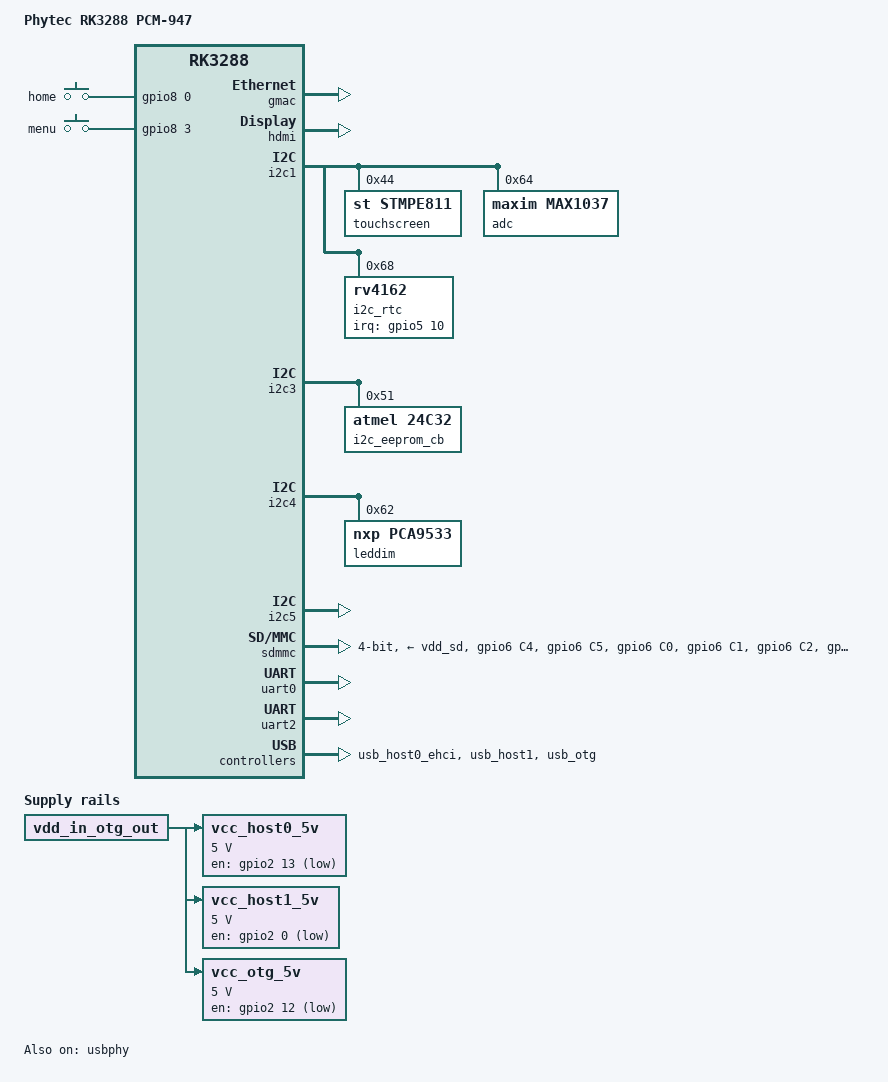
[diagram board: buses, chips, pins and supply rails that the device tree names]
// SPDX-License-Identifier: (GPL-2.0+ OR MIT)
/*
 * Device tree file for Phytec PCM-947 carrier board
 * Copyright (C) 2017 PHYTEC Messtechnik GmbH
 * Author: Wadim Egorov <w.egorov@phytec.de>
 */

/dts-v1/;

#include <dt-bindings/input/input.h>
#include <dt-bindings/leds/leds-pca9532.h>
#include "rk3288-phycore-som.dtsi"

/ {
	model = "Phytec RK3288 PCM-947";
	compatible = "phytec,rk3288-pcm-947", "phytec,rk3288-phycore-som", "rockchip,rk3288";

	user_buttons: user-buttons {
		compatible = "gpio-keys";
		pinctrl-names = "default";
		pinctrl-0 = <&user_button_pins>;

		button-0 {
			label = "home";
			linux,code = <KEY_HOME>;
			gpios = <&gpio8 0 GPIO_ACTIVE_HIGH>;
			wakeup-source;
		};

		button-1 {
			label = "menu";
			linux,code = <KEY_MENU>;
			gpios = <&gpio8 3 GPIO_ACTIVE_HIGH>;
			wakeup-source;
		};
	};

	vcc_host0_5v: usb-host0-regulator {
		compatible = "regulator-fixed";
		gpio = <&gpio2 13 GPIO_ACTIVE_HIGH>;
		pinctrl-names = "default";
		pinctrl-0 = <&host0_vbus_drv>;
		regulator-name = "vcc_host0_5v";
		regulator-min-microvolt = <5000000>;
		regulator-max-microvolt = <5000000>;
		regulator-always-on;
		vin-supply = <&vdd_in_otg_out>;
	};

	vcc_host1_5v: usb-host1-regulator {
		compatible = "regulator-fixed";
		gpio = <&gpio2 0 GPIO_ACTIVE_HIGH>;
		pinctrl-names = "default";
		pinctrl-0 = <&host1_vbus_drv>;
		regulator-name = "vcc_host1_5v";
		regulator-min-microvolt = <5000000>;
		regulator-max-microvolt = <5000000>;
		regulator-always-on;
		vin-supply = <&vdd_in_otg_out>;
	};

	vcc_otg_5v: usb-otg-regulator {
		compatible = "regulator-fixed";
		gpio = <&gpio2 12 GPIO_ACTIVE_HIGH>;
		pinctrl-names = "default";
		pinctrl-0 = <&otg_vbus_drv>;
		regulator-name = "vcc_otg_5v";
		regulator-min-microvolt = <5000000>;
		regulator-max-microvolt = <5000000>;
		regulator-always-on;
		vin-supply = <&vdd_in_otg_out>;
	};
};

&gmac {
	status = "okay";
};

&hdmi {
	status = "okay";
};

&i2c1 {
	status = "okay";

	touchscreen@44 {
		compatible = "st,stmpe811";
		reg = <0x44>;
	};

	adc@64 {
		compatible = "maxim,max1037";
		reg = <0x64>;
	};

	i2c_rtc: rtc@68 {
		compatible = "rv4162";
		reg = <0x68>;
		pinctrl-names = "default";
		pinctrl-0 = <&i2c_rtc_int>;
		interrupt-parent = <&gpio5>;
		interrupts = <10 0>;
	};
};

&i2c3 {
	status = "okay";

	i2c_eeprom_cb: eeprom@51 {
		compatible = "atmel,24c32";
		reg = <0x51>;
		pagesize = <32>;
	};
};

&i2c4 {
	status = "okay";

	/* PCA9533 - 4-bit LED dimmer */
	leddim: leddimmer@62 {
		compatible = "nxp,pca9533";
		reg = <0x62>;

		led1 {
			label = "red:user1";
			linux,default-trigger = "none";
			type = <PCA9532_TYPE_LED>;
		};

		led2 {
			label = "green:user2";
			linux,default-trigger = "none";
			type = <PCA9532_TYPE_LED>;
		};

		led3 {
			label = "blue:user3";
			linux,default-trigger = "none";
			type = <PCA9532_TYPE_LED>;
		};

		led4 {
			label = "red:user4";
			linux,default-trigger = "none";
			type = <PCA9532_TYPE_LED>;
		};
	};
};

&i2c5 {
	status = "okay";
};

&pinctrl {
	pcfg_pull_up_drv_12ma: pcfg-pull-up-drv-12ma {
		bias-pull-up;
		drive-strength = <12>;
	};

	buttons {
		user_button_pins: user-button-pins {
			/* button 1 */
			rockchip,pins = <8 RK_PA3 RK_FUNC_GPIO &pcfg_pull_up>,
			/* button 2 */
					<8 RK_PA0 RK_FUNC_GPIO &pcfg_pull_up>;
		};
	};

	rv4162 {
		i2c_rtc_int: i2c-rtc-int {
			rockchip,pins = <5 RK_PB2 RK_FUNC_GPIO &pcfg_pull_up>;
		};
	};

	sdmmc {
		/*
		 * Default drive strength isn't enough to achieve even
		 * high-speed mode on pcm-947 board so bump up to 12 mA.
		 */
		sdmmc_bus4: sdmmc-bus4 {
			rockchip,pins = <6 RK_PC0 1 &pcfg_pull_up_drv_12ma>,
					<6 RK_PC1 1 &pcfg_pull_up_drv_12ma>,
					<6 RK_PC2 1 &pcfg_pull_up_drv_12ma>,
					<6 RK_PC3 1 &pcfg_pull_up_drv_12ma>;
		};

		sdmmc_clk: sdmmc-clk {
			rockchip,pins = <6 RK_PC4 1 &pcfg_pull_none_12ma>;
		};

		sdmmc_cmd: sdmmc-cmd {
			rockchip,pins = <6 RK_PC5 1 &pcfg_pull_up_drv_12ma>;
		};

		sdmmc_pwr: sdmmc-pwr {
			rockchip,pins = <7 RK_PB3 RK_FUNC_GPIO &pcfg_pull_none>;
		};
	};

	touchscreen {
		ts_irq_pin: ts-irq-pin {
			rockchip,pins = <5 RK_PB7 RK_FUNC_GPIO &pcfg_pull_none>;
		};
	};

	usb_host {
		host0_vbus_drv: host0-vbus-drv {
			rockchip,pins = <2 RK_PB5 RK_FUNC_GPIO &pcfg_pull_none>;
		};

		host1_vbus_drv: host1-vbus-drv {
			rockchip,pins = <2 RK_PA0 RK_FUNC_GPIO &pcfg_pull_none>;
		};
	};

	usb_otg {
		otg_vbus_drv: otg-vbus-drv {
			rockchip,pins = <2 RK_PB4 RK_FUNC_GPIO &pcfg_pull_none>;
		};
	};
};

&sdmmc {
	bus-width = <4>;
	cap-mmc-highspeed;
	cap-sd-highspeed;
	card-detect-delay = <200>;
	disable-wp;
	pinctrl-names = "default";
	pinctrl-0 = <&sdmmc_clk &sdmmc_cmd &sdmmc_cd &sdmmc_bus4>;
	sd-uhs-sdr12;
	sd-uhs-sdr25;
	sd-uhs-sdr50;
	sd-uhs-sdr104;
	vmmc-supply = <&vdd_sd>;
	vqmmc-supply = <&vdd_io_sd>;
	status = "okay";
};

&uart0 {
	pinctrl-names = "default";
	pinctrl-0 = <&uart0_xfer &uart0_cts &uart0_rts>;
	status = "okay";
};

&uart2 {
	status = "okay";
};

&usbphy {
	status = "okay";
};

&usb_host0_ehci {
	status = "okay";
};

&usb_host1 {
	status = "okay";
};

&usb_otg {
	status = "okay";
};
